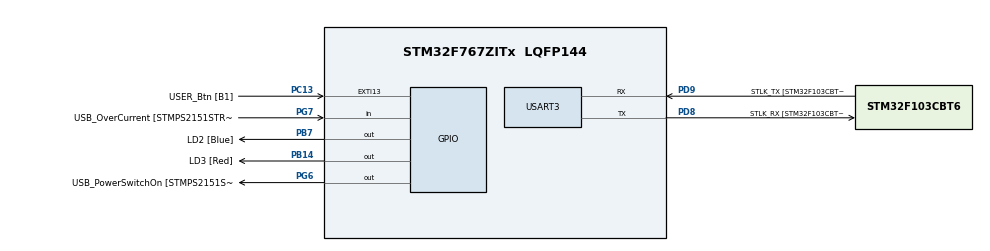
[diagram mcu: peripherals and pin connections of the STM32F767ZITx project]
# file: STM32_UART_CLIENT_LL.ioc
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Dma.Request0=USART3_RX
Dma.Request1=USART3_TX
Dma.USART3_RX.0.Direction=DMA_PERIPH_TO_MEMORY
Dma.USART3_RX.0.FIFOMode=DMA_FIFOMODE_DISABLE
Dma.USART3_RX.0.Instance=DMA1_Stream1
Dma.USART3_RX.0.MemDataAlignment=DMA_MDATAALIGN_BYTE
Dma.USART3_RX.0.MemInc=DMA_MINC_ENABLE
Dma.USART3_RX.0.Mode=DMA_CIRCULAR
Dma.USART3_RX.0.PeriphDataAlignment=DMA_PDATAALIGN_BYTE
Dma.USART3_RX.0.PeriphInc=DMA_PINC_DISABLE
Dma.USART3_RX.0.Priority=DMA_PRIORITY_LOW
Dma.USART3_TX.1.Direction=DMA_MEMORY_TO_PERIPH
Dma.USART3_TX.1.FIFOMode=DMA_FIFOMODE_DISABLE
Dma.USART3_TX.1.Instance=DMA1_Stream3
Dma.USART3_TX.1.MemDataAlignment=DMA_MDATAALIGN_BYTE
Dma.USART3_TX.1.MemInc=DMA_MINC_ENABLE
Dma.USART3_TX.1.Mode=DMA_NORMAL
Dma.USART3_TX.1.PeriphDataAlignment=DMA_PDATAALIGN_BYTE
Dma.USART3_TX.1.PeriphInc=DMA_PINC_DISABLE
Dma.USART3_TX.1.Priority=DMA_PRIORITY_LOW
FREERTOS.BinarySemaphores01=uartWaitTxCompletionSem,Dynamic,NULL;uartWaitRxCompletionSem,Dynamic,NULL
FREERTOS.HEAP_NUMBER=1
FREERTOS.Tasks01=UartTask,24,384,StartUartTask,Default,NULL,Dynamic,NULL,NULL
FREERTOS.configMINIMAL_STACK_SIZE=384
Mcu.Family=STM32F7
Mcu.Name=STM32F767ZITx
Mcu.Package=LQFP144
NVIC.DMA1_Stream1_IRQn=true\:5\:0\:false\:false\:true\:true\:false\:true
NVIC.DMA1_Stream3_IRQn=true\:5\:0\:false\:false\:true\:true\:false\:true
NVIC.PriorityGroup=NVIC_PRIORITYGROUP_4
NVIC.TIM3_IRQn=true\:0\:0\:false\:false\:true\:false\:false\:true
NVIC.TimeBase=TIM3_IRQn
NVIC.TimeBaseIP=TIM3
NVIC.USART3_IRQn=true\:5\:0\:false\:false\:true\:true\:true\:true
PA1.GPIO_Label=RMII_REF_CLK [LAN8742A-CZ-TR_REFCLK0]
PA1.Signal=ETH_REF_CLK
PA10.GPIO_Label=USB_ID
PA10.Signal=USB_OTG_FS_ID
PA11.GPIO_Label=USB_DM
PA11.Signal=USB_OTG_FS_DM
PA12.GPIO_Label=USB_DP
PA12.Signal=USB_OTG_FS_DP
PA13.GPIO_Label=TMS
PA13.Mode=Serial_Wire
PA13.Signal=SYS_JTMS-SWDIO
PA14.GPIO_Label=TCK
PA14.Mode=Serial_Wire
PA14.Signal=SYS_JTCK-SWCLK
PA2.GPIO_Label=RMII_MDIO [LAN8742A-CZ-TR_MDIO]
PA2.Signal=ETH_MDIO
PA7.GPIO_Label=RMII_CRS_DV [LAN8742A-CZ-TR_CRS_DV]
PA7.Signal=ETH_CRS_DV
PA8.GPIO_Label=USB_SOF [TP1]
PA8.Signal=USB_OTG_FS_SOF
PA9.GPIO_Label=USB_VBUS
PA9.Signal=USB_OTG_FS_VBUS
PB13.GPIO_Label=RMII_TXD1 [LAN8742A-CZ-TR_TXD1]
PB13.Signal=ETH_TXD1
PB14.GPIO_Label=LD3 [Red]
PB14.Signal=GPIO_Output
PB3.GPIO_Label=SWO
PB3.Signal=SYS_JTDO-SWO
PB7.GPIO_Label=LD2 [Blue]
PB7.Signal=GPIO_Output
PC1.GPIO_Label=RMII_MDC [LAN8742A-CZ-TR_MDC]
PC1.Signal=ETH_MDC
PC13.GPIO_Label=USER_Btn [B1]
PC13.Signal=GPXTI13
PC14/OSC32_IN.Mode=LSE-External-Oscillator
PC14/OSC32_IN.Signal=RCC_OSC32_IN
PC15/OSC32_OUT.Mode=LSE-External-Oscillator
PC15/OSC32_OUT.Signal=RCC_OSC32_OUT
PC4.GPIO_Label=RMII_RXD0 [LAN8742A-CZ-TR_RXD0]
PC4.Signal=ETH_RXD0
PC5.GPIO_Label=RMII_RXD1 [LAN8742A-CZ-TR_RXD1]
PC5.Signal=ETH_RXD1
PD8.GPIO_Label=STLK_RX [STM32F103CBT6_PA3]
PD8.Mode=Asynchronous
PD8.Signal=USART3_TX
PD9.GPIO_Label=STLK_TX [STM32F103CBT6_PA2]
PD9.Mode=Asynchronous
PD9.Signal=USART3_RX
PG11.GPIO_Label=RMII_TX_EN [LAN8742A-CZ-TR_TXEN]
PG11.Signal=ETH_TX_EN
PG13.GPIO_Label=RMII_TXD0 [LAN8742A-CZ-TR_TXD0]
PG13.Signal=ETH_TXD0
PG6.GPIO_Label=USB_PowerSwitchOn [STMPS2151STR_EN]
PG6.Signal=GPIO_Output
PG7.GPIO_Label=USB_OverCurrent [STMPS2151STR_FAULT]
PG7.Signal=GPIO_Input
PH0/OSC_IN.GPIO_Label=MCO [STM32F103CBT6_PA8]
PH0/OSC_IN.Mode=HSE-External-Clock-Source
PH0/OSC_IN.Signal=RCC_OSC_IN
PH1/OSC_OUT.Mode=HSE-External-Clock-Source
PH1/OSC_OUT.Signal=RCC_OSC_OUT
ProjectManager.HeapSize=0x200
ProjectManager.StackSize=0x400
ProjectManager.TargetToolchain=STM32CubeIDE
RCC.48MHZClocksFreq_Value=24000000
RCC.AHBFreq_Value=96000000
RCC.APB1CLKDivider=RCC_HCLK_DIV2
RCC.APB1Freq_Value=48000000
RCC.APB1TimFreq_Value=96000000
RCC.APB2Freq_Value=96000000
RCC.APB2TimFreq_Value=96000000
RCC.CortexFreq_Value=96000000
RCC.HCLKFreq_Value=96000000
RCC.HSE_VALUE=8000000
RCC.HSI_VALUE=16000000
RCC.PLLM=4
RCC.PLLMUL=RCC_PLL_MUL9
RCC.PLLN=96
RCC.PLLQ=4
RCC.PLLSourceVirtual=RCC_PLLSOURCE_HSE
RCC.PRESCALERUSB=RCC_USBCLKSOURCE_PLL_DIV1_5
RCC.SYSCLKFreq_VALUE=96000000
RCC.SYSCLKSource=RCC_SYSCLKSOURCE_PLLCLK
RCC.SYSCLKSourceVirtual=RCC_SYSCLKSOURCE_PLLCLK
RCC.USBFreq_Value=48000000
RCC.VCOOutputFreq_Value=192000000
USART3.VirtualMode-Asynchronous=VM_ASYNC
VP_FREERTOS_VS_CMSIS_V2.Mode=CMSIS_V2
VP_SYS_VS_tim3.Mode=TIM3
board=NUCLEO-F767ZI

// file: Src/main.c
/* USER CODE BEGIN Header */
/**
  ******************************************************************************
  * @file           : main.c
  * @brief          : Main program body
  ******************************************************************************
  * @attention
  *
  * <h2><center>&copy; Copyright (c) 2020 STMicroelectronics.
  * All rights reserved.</center></h2>
  *
  * This software component is licensed by ST under BSD 3-Clause license,
  * the "License"; You may not use this file except in compliance with the
  * License. You may obtain a copy of the License at:
  *                        opensource.org/licenses/BSD-3-Clause
  *
  ******************************************************************************
  */
/* USER CODE END Header */

#include "main.h"
#include "cmsis_os.h"

/* USER CODE BEGIN Includes */
#include <string.h>
#include "task.h"
#include "uart_wrapper.h"
/* USER CODE END Includes */

osThreadId_t UartTaskHandle;
osSemaphoreId_t uartWaitTxCompletionSemHandle;
osSemaphoreId_t uartWaitRxCompletionSemHandle;

void SystemClock_Config(void);
static void MX_GPIO_Init(void);
static void MX_DMA_Init(void);
static void MX_USART3_UART_Init(void);
void StartUartTask(void *argument);

/* USER CODE BEGIN 0 */
int prev_offset = 0;
uint8_t pDataRx[256] = {0};
uint8_t message[256] = {0};
uint8_t pDataRxCopy[150] = {0};

void uart_txcpltcallback(USART_TypeDef *uart)
{
	//transmitDone = 1;
	osSemaphoreRelease(uartWaitTxCompletionSemHandle);
}

void uart_rxcpltcallback(USART_TypeDef *uart)
{
	int offset;
	size_t size;

	offset = sizeof(pDataRx) - LL_DMA_GetDataLength(DMA1, LL_DMA_STREAM_1);
	if(offset != prev_offset)
	{
		if(offset > prev_offset)
		{
			memcpy(&message[0], &pDataRx[prev_offset], offset - prev_offset);
		}
		else
		{
			size = sizeof(pDataRx) - prev_offset;
			memcpy(&message[0], &pDataRx[prev_offset], size);

			if(offset > 0)
			{
				memcpy(&message[size], &pDataRx[0], offset);
			}
		}
	}
	prev_offset = offset;
    if (prev_offset == sizeof(pDataRx)) {
        prev_offset = 0;
    }

	osSemaphoreRelease(uartWaitRxCompletionSemHandle);
}

int strlen_7e(uint8_t *str)
{
	int i = 0;

	while(str[i++] != 0x7E);

	return i;
}

/*
 * UnStuffData decodes "length" bytes of data at
 * the location pointed to by "ptr", writing the
 * output to the location pointed to by "dst".
 *
 * Returns the length of the decoded data
 * (which is guaranteed to be <= length).
 */
size_t UnStuffData(const uint8_t *ptr, size_t length, uint8_t *dst)
{
	const uint8_t *start = dst, *end = ptr + length;
	uint8_t code = 0xFF, copy = 0;

	for (; ptr < end; copy--) {
		if (copy != 0) {
			*dst++ = *ptr++;
		} else {
			if (code != 0xFF)
				*dst++ = 0x7E;
			copy = code = *ptr++;
			if (code == 0x7E)
				break; /* Source length too long */
		}
	}
	return dst - start;
}

void vApplicationStackOverflowHook(TaskHandle_t xTask, signed char *pcTaskName)
{
 __asm("BKPT");
}
/* USER CODE END 0 */

int main(void)
{

  /* MCU Configuration--------------------------------------------------------*/

  /* Reset of all peripherals, Initializes the Flash interface and the Systick. */
  HAL_Init();

  /* Configure the system clock */
  SystemClock_Config();

  /* Initialize all configured peripherals */
  MX_GPIO_Init();
  MX_DMA_Init();
  MX_USART3_UART_Init();
  /* USER CODE BEGIN 2 */

  usart_start_rx_dma_transfer(pDataRx, sizeof(pDataRx));
  /* USER CODE END 2 */

  osKernelInitialize();

  /* Create the semaphores(s) */
  /* definition and creation of uartWaitTxCompletionSem */
  const osSemaphoreAttr_t uartWaitTxCompletionSem_attributes = {
    .name = "uartWaitTxCompletionSem"
  };
  uartWaitTxCompletionSemHandle = osSemaphoreNew(1, 0, &uartWaitTxCompletionSem_attributes);

  /* definition and creation of uartWaitRxCompletionSem */
  const osSemaphoreAttr_t uartWaitRxCompletionSem_attributes = {
    .name = "uartWaitRxCompletionSem"
  };
  uartWaitRxCompletionSemHandle = osSemaphoreNew(1, 0, &uartWaitRxCompletionSem_attributes);

  /* Create the thread(s) */
  /* definition and creation of UartTask */
  const osThreadAttr_t UartTask_attributes = {
    .name = "UartTask",
    .priority = (osPriority_t) osPriorityNormal,
    .stack_size = 384
  };
  UartTaskHandle = osThreadNew(StartUartTask, NULL, &UartTask_attributes);

  /* Start scheduler */
  osKernelStart();

  /* We should never get here as control is now taken by the scheduler */

  /* Infinite loop */
  while (1)
  {

  }
}

void SystemClock_Config(void)
{
  LL_FLASH_SetLatency(LL_FLASH_LATENCY_3);

  if(LL_FLASH_GetLatency() != LL_FLASH_LATENCY_3)
  {
  Error_Handler();
  }
  LL_PWR_SetRegulVoltageScaling(LL_PWR_REGU_VOLTAGE_SCALE3);
  LL_PWR_EnableOverDriveMode();
  LL_RCC_HSE_EnableBypass();
  LL_RCC_HSE_Enable();

   /* Wait till HSE is ready */
  while(LL_RCC_HSE_IsReady() != 1)
  {

  }
  LL_RCC_PLL_ConfigDomain_SYS(LL_RCC_PLLSOURCE_HSE, LL_RCC_PLLM_DIV_4, 96, LL_RCC_PLLP_DIV_2);
  LL_RCC_PLL_Enable();

   /* Wait till PLL is ready */
  while(LL_RCC_PLL_IsReady() != 1)
  {

  }
  LL_RCC_SetAHBPrescaler(LL_RCC_SYSCLK_DIV_1);
  LL_RCC_SetAPB1Prescaler(LL_RCC_APB1_DIV_2);
  LL_RCC_SetAPB2Prescaler(LL_RCC_APB2_DIV_1);
  LL_RCC_SetSysClkSource(LL_RCC_SYS_CLKSOURCE_PLL);

   /* Wait till System clock is ready */
  while(LL_RCC_GetSysClkSource() != LL_RCC_SYS_CLKSOURCE_STATUS_PLL)
  {

  }
  LL_SetSystemCoreClock(96000000);
  LL_RCC_SetUSARTClockSource(LL_RCC_USART3_CLKSOURCE_PCLK1);
}

static void MX_USART3_UART_Init(void)
{

  /* USER CODE BEGIN USART3_Init 0 */
  uint8_t CRLFchar = 0x7E;//'\r';
  /* USER CODE END USART3_Init 0 */

  LL_USART_InitTypeDef USART_InitStruct = {0};

  LL_GPIO_InitTypeDef GPIO_InitStruct = {0};

  /* Peripheral clock enable */
  LL_APB1_GRP1_EnableClock(LL_APB1_GRP1_PERIPH_USART3);

  LL_AHB1_GRP1_EnableClock(LL_AHB1_GRP1_PERIPH_GPIOD);
  /**USART3 GPIO Configuration
  PD8   ------> USART3_TX
  PD9   ------> USART3_RX
  */
  GPIO_InitStruct.Pin = STLK_RX_Pin;
  GPIO_InitStruct.Mode = LL_GPIO_MODE_ALTERNATE;
  GPIO_InitStruct.Speed = LL_GPIO_SPEED_FREQ_VERY_HIGH;
  GPIO_InitStruct.OutputType = LL_GPIO_OUTPUT_PUSHPULL;
  GPIO_InitStruct.Pull = LL_GPIO_PULL_NO;
  GPIO_InitStruct.Alternate = LL_GPIO_AF_7;
  LL_GPIO_Init(STLK_RX_GPIO_Port, &GPIO_InitStruct);

  GPIO_InitStruct.Pin = STLK_TX_Pin;
  GPIO_InitStruct.Mode = LL_GPIO_MODE_ALTERNATE;
  GPIO_InitStruct.Speed = LL_GPIO_SPEED_FREQ_VERY_HIGH;
  GPIO_InitStruct.OutputType = LL_GPIO_OUTPUT_PUSHPULL;
  GPIO_InitStruct.Pull = LL_GPIO_PULL_NO;
  GPIO_InitStruct.Alternate = LL_GPIO_AF_7;
  LL_GPIO_Init(STLK_TX_GPIO_Port, &GPIO_InitStruct);

  /* USART3 DMA Init */

  /* USART3_RX Init */
  LL_DMA_SetChannelSelection(DMA1, LL_DMA_STREAM_1, LL_DMA_CHANNEL_4);

  LL_DMA_SetDataTransferDirection(DMA1, LL_DMA_STREAM_1, LL_DMA_DIRECTION_PERIPH_TO_MEMORY);

  LL_DMA_SetStreamPriorityLevel(DMA1, LL_DMA_STREAM_1, LL_DMA_PRIORITY_LOW);

  LL_DMA_SetMode(DMA1, LL_DMA_STREAM_1, LL_DMA_MODE_CIRCULAR);

  LL_DMA_SetPeriphIncMode(DMA1, LL_DMA_STREAM_1, LL_DMA_PERIPH_NOINCREMENT);

  LL_DMA_SetMemoryIncMode(DMA1, LL_DMA_STREAM_1, LL_DMA_MEMORY_INCREMENT);

  LL_DMA_SetPeriphSize(DMA1, LL_DMA_STREAM_1, LL_DMA_PDATAALIGN_BYTE);

  LL_DMA_SetMemorySize(DMA1, LL_DMA_STREAM_1, LL_DMA_MDATAALIGN_BYTE);

  LL_DMA_DisableFifoMode(DMA1, LL_DMA_STREAM_1);

  /* USART3_TX Init */
  LL_DMA_SetChannelSelection(DMA1, LL_DMA_STREAM_3, LL_DMA_CHANNEL_4);

  LL_DMA_SetDataTransferDirection(DMA1, LL_DMA_STREAM_3, LL_DMA_DIRECTION_MEMORY_TO_PERIPH);

  LL_DMA_SetStreamPriorityLevel(DMA1, LL_DMA_STREAM_3, LL_DMA_PRIORITY_LOW);

  LL_DMA_SetMode(DMA1, LL_DMA_STREAM_3, LL_DMA_MODE_NORMAL);

  LL_DMA_SetPeriphIncMode(DMA1, LL_DMA_STREAM_3, LL_DMA_PERIPH_NOINCREMENT);

  LL_DMA_SetMemoryIncMode(DMA1, LL_DMA_STREAM_3, LL_DMA_MEMORY_INCREMENT);

  LL_DMA_SetPeriphSize(DMA1, LL_DMA_STREAM_3, LL_DMA_PDATAALIGN_BYTE);

  LL_DMA_SetMemorySize(DMA1, LL_DMA_STREAM_3, LL_DMA_MDATAALIGN_BYTE);

  LL_DMA_DisableFifoMode(DMA1, LL_DMA_STREAM_3);

  /* USART3 interrupt Init */
  NVIC_SetPriority(USART3_IRQn, NVIC_EncodePriority(NVIC_GetPriorityGrouping(),5, 0));
  NVIC_EnableIRQ(USART3_IRQn);

  /* USER CODE BEGIN USART3_Init 1 */
  //MODIFY_REG(huart3.Instance->CR2, USART_CR2_ADD, ((uint32_t)CRLFchar << UART_CR2_ADDRESS_LSB_POS));
  //LL_USART_ConfigNodeAddress(USART3, LL_USART_ADDRESS_DETECT_7B, CRLFchar);
  MODIFY_REG(USART3->CR2, USART_CR2_ADD, ((uint32_t)CRLFchar << USART_CR2_ADD_Pos));
  /* USER CODE END USART3_Init 1 */
  USART_InitStruct.BaudRate = 115200;
  USART_InitStruct.DataWidth = LL_USART_DATAWIDTH_8B;
  USART_InitStruct.StopBits = LL_USART_STOPBITS_1;
  USART_InitStruct.Parity = LL_USART_PARITY_NONE;
  USART_InitStruct.TransferDirection = LL_USART_DIRECTION_TX_RX;
  USART_InitStruct.HardwareFlowControl = LL_USART_HWCONTROL_NONE;
  USART_InitStruct.OverSampling = LL_USART_OVERSAMPLING_16;
  LL_USART_Init(USART3, &USART_InitStruct);
  LL_USART_ConfigAsyncMode(USART3);
  LL_USART_Enable(USART3);

}

static void MX_DMA_Init(void)
{

  /* DMA controller clock enable */
  __HAL_RCC_DMA1_CLK_ENABLE();

  /* DMA interrupt init */
  /* DMA1_Stream1_IRQn interrupt configuration */
  NVIC_SetPriority(DMA1_Stream1_IRQn, NVIC_EncodePriority(NVIC_GetPriorityGrouping(),5, 0));
  NVIC_EnableIRQ(DMA1_Stream1_IRQn);
  /* DMA1_Stream3_IRQn interrupt configuration */
  NVIC_SetPriority(DMA1_Stream3_IRQn, NVIC_EncodePriority(NVIC_GetPriorityGrouping(),5, 0));
  NVIC_EnableIRQ(DMA1_Stream3_IRQn);

}

static void MX_GPIO_Init(void)
{
  LL_EXTI_InitTypeDef EXTI_InitStruct = {0};
  LL_GPIO_InitTypeDef GPIO_InitStruct = {0};

  /* GPIO Ports Clock Enable */
  LL_AHB1_GRP1_EnableClock(LL_AHB1_GRP1_PERIPH_GPIOC);
  LL_AHB1_GRP1_EnableClock(LL_AHB1_GRP1_PERIPH_GPIOH);
  LL_AHB1_GRP1_EnableClock(LL_AHB1_GRP1_PERIPH_GPIOA);
  LL_AHB1_GRP1_EnableClock(LL_AHB1_GRP1_PERIPH_GPIOB);
  LL_AHB1_GRP1_EnableClock(LL_AHB1_GRP1_PERIPH_GPIOD);
  LL_AHB1_GRP1_EnableClock(LL_AHB1_GRP1_PERIPH_GPIOG);

  /**/
  LL_GPIO_ResetOutputPin(LD3_GPIO_Port, LD3_Pin);

  /**/
  LL_GPIO_ResetOutputPin(USB_PowerSwitchOn_GPIO_Port, USB_PowerSwitchOn_Pin);

  /**/
  LL_GPIO_ResetOutputPin(LD2_GPIO_Port, LD2_Pin);

  /**/
  LL_SYSCFG_SetEXTISource(LL_SYSCFG_EXTI_PORTC, LL_SYSCFG_EXTI_LINE13);

  /**/
  EXTI_InitStruct.Line_0_31 = LL_EXTI_LINE_13;
  EXTI_InitStruct.LineCommand = ENABLE;
  EXTI_InitStruct.Mode = LL_EXTI_MODE_IT;
  EXTI_InitStruct.Trigger = LL_EXTI_TRIGGER_RISING;
  LL_EXTI_Init(&EXTI_InitStruct);

  /**/
  LL_GPIO_SetPinPull(USER_Btn_GPIO_Port, USER_Btn_Pin, LL_GPIO_PULL_NO);

  /**/
  LL_GPIO_SetPinMode(USER_Btn_GPIO_Port, USER_Btn_Pin, LL_GPIO_MODE_INPUT);

  /**/
  GPIO_InitStruct.Pin = RMII_MDC_Pin;
  GPIO_InitStruct.Mode = LL_GPIO_MODE_ALTERNATE;
  GPIO_InitStruct.Speed = LL_GPIO_SPEED_FREQ_VERY_HIGH;
  GPIO_InitStruct.OutputType = LL_GPIO_OUTPUT_PUSHPULL;
  GPIO_InitStruct.Pull = LL_GPIO_PULL_NO;
  GPIO_InitStruct.Alternate = LL_GPIO_AF_11;
  LL_GPIO_Init(RMII_MDC_GPIO_Port, &GPIO_InitStruct);

  /**/
  GPIO_InitStruct.Pin = RMII_REF_CLK_Pin;
  GPIO_InitStruct.Mode = LL_GPIO_MODE_ALTERNATE;
  GPIO_InitStruct.Speed = LL_GPIO_SPEED_FREQ_VERY_HIGH;
  GPIO_InitStruct.OutputType = LL_GPIO_OUTPUT_PUSHPULL;
  GPIO_InitStruct.Pull = LL_GPIO_PULL_NO;
  GPIO_InitStruct.Alternate = LL_GPIO_AF_11;
  LL_GPIO_Init(RMII_REF_CLK_GPIO_Port, &GPIO_InitStruct);

  /**/
  GPIO_InitStruct.Pin = RMII_MDIO_Pin;
  GPIO_InitStruct.Mode = LL_GPIO_MODE_ALTERNATE;
  GPIO_InitStruct.Speed = LL_GPIO_SPEED_FREQ_VERY_HIGH;
  GPIO_InitStruct.OutputType = LL_GPIO_OUTPUT_PUSHPULL;
  GPIO_InitStruct.Pull = LL_GPIO_PULL_NO;
  GPIO_InitStruct.Alternate = LL_GPIO_AF_11;
  LL_GPIO_Init(RMII_MDIO_GPIO_Port, &GPIO_InitStruct);

  /**/
  GPIO_InitStruct.Pin = RMII_CRS_DV_Pin;
  GPIO_InitStruct.Mode = LL_GPIO_MODE_ALTERNATE;
  GPIO_InitStruct.Speed = LL_GPIO_SPEED_FREQ_VERY_HIGH;
  GPIO_InitStruct.OutputType = LL_GPIO_OUTPUT_PUSHPULL;
  GPIO_InitStruct.Pull = LL_GPIO_PULL_NO;
  GPIO_InitStruct.Alternate = LL_GPIO_AF_11;
  LL_GPIO_Init(RMII_CRS_DV_GPIO_Port, &GPIO_InitStruct);

  /**/
  GPIO_InitStruct.Pin = RMII_RXD0_Pin;
  GPIO_InitStruct.Mode = LL_GPIO_MODE_ALTERNATE;
  GPIO_InitStruct.Speed = LL_GPIO_SPEED_FREQ_VERY_HIGH;
  GPIO_InitStruct.OutputType = LL_GPIO_OUTPUT_PUSHPULL;
  GPIO_InitStruct.Pull = LL_GPIO_PULL_NO;
  GPIO_InitStruct.Alternate = LL_GPIO_AF_11;
  LL_GPIO_Init(RMII_RXD0_GPIO_Port, &GPIO_InitStruct);

  /**/
  GPIO_InitStruct.Pin = RMII_RXD1_Pin;
  GPIO_InitStruct.Mode = LL_GPIO_MODE_ALTERNATE;
  GPIO_InitStruct.Speed = LL_GPIO_SPEED_FREQ_VERY_HIGH;
  GPIO_InitStruct.OutputType = LL_GPIO_OUTPUT_PUSHPULL;
  GPIO_InitStruct.Pull = LL_GPIO_PULL_NO;
  GPIO_InitStruct.Alternate = LL_GPIO_AF_11;
  LL_GPIO_Init(RMII_RXD1_GPIO_Port, &GPIO_InitStruct);

  /**/
  GPIO_InitStruct.Pin = RMII_TXD1_Pin;
  GPIO_InitStruct.Mode = LL_GPIO_MODE_ALTERNATE;
  GPIO_InitStruct.Speed = LL_GPIO_SPEED_FREQ_VERY_HIGH;
  GPIO_InitStruct.OutputType = LL_GPIO_OUTPUT_PUSHPULL;
  GPIO_InitStruct.Pull = LL_GPIO_PULL_NO;
  GPIO_InitStruct.Alternate = LL_GPIO_AF_11;
  LL_GPIO_Init(RMII_TXD1_GPIO_Port, &GPIO_InitStruct);

  /**/
  GPIO_InitStruct.Pin = LD3_Pin;
  GPIO_InitStruct.Mode = LL_GPIO_MODE_OUTPUT;
  GPIO_InitStruct.Speed = LL_GPIO_SPEED_FREQ_LOW;
  GPIO_InitStruct.OutputType = LL_GPIO_OUTPUT_PUSHPULL;
  GPIO_InitStruct.Pull = LL_GPIO_PULL_NO;
  LL_GPIO_Init(LD3_GPIO_Port, &GPIO_InitStruct);

  /**/
  GPIO_InitStruct.Pin = USB_PowerSwitchOn_Pin;
  GPIO_InitStruct.Mode = LL_GPIO_MODE_OUTPUT;
  GPIO_InitStruct.Speed = LL_GPIO_SPEED_FREQ_LOW;
  GPIO_InitStruct.OutputType = LL_GPIO_OUTPUT_PUSHPULL;
  GPIO_InitStruct.Pull = LL_GPIO_PULL_NO;
  LL_GPIO_Init(USB_PowerSwitchOn_GPIO_Port, &GPIO_InitStruct);

  /**/
  GPIO_InitStruct.Pin = USB_OverCurrent_Pin;
  GPIO_InitStruct.Mode = LL_GPIO_MODE_INPUT;
  GPIO_InitStruct.Pull = LL_GPIO_PULL_NO;
  LL_GPIO_Init(USB_OverCurrent_GPIO_Port, &GPIO_InitStruct);

  /**/
  GPIO_InitStruct.Pin = USB_SOF_Pin;
  GPIO_InitStruct.Mode = LL_GPIO_MODE_ALTERNATE;
  GPIO_InitStruct.Speed = LL_GPIO_SPEED_FREQ_VERY_HIGH;
  GPIO_InitStruct.OutputType = LL_GPIO_OUTPUT_PUSHPULL;
  GPIO_InitStruct.Pull = LL_GPIO_PULL_NO;
  GPIO_InitStruct.Alternate = LL_GPIO_AF_10;
  LL_GPIO_Init(USB_SOF_GPIO_Port, &GPIO_InitStruct);

  /**/
  GPIO_InitStruct.Pin = USB_VBUS_Pin;
  GPIO_InitStruct.Mode = LL_GPIO_MODE_INPUT;
  GPIO_InitStruct.Pull = LL_GPIO_PULL_NO;
  LL_GPIO_Init(USB_VBUS_GPIO_Port, &GPIO_InitStruct);

  /**/
  GPIO_InitStruct.Pin = USB_ID_Pin;
  GPIO_InitStruct.Mode = LL_GPIO_MODE_ALTERNATE;
  GPIO_InitStruct.Speed = LL_GPIO_SPEED_FREQ_VERY_HIGH;
  GPIO_InitStruct.OutputType = LL_GPIO_OUTPUT_PUSHPULL;
  GPIO_InitStruct.Pull = LL_GPIO_PULL_NO;
  GPIO_InitStruct.Alternate = LL_GPIO_AF_10;
  LL_GPIO_Init(USB_ID_GPIO_Port, &GPIO_InitStruct);

  /**/
  GPIO_InitStruct.Pin = USB_DM_Pin;
  GPIO_InitStruct.Mode = LL_GPIO_MODE_ALTERNATE;
  GPIO_InitStruct.Speed = LL_GPIO_SPEED_FREQ_VERY_HIGH;
  GPIO_InitStruct.OutputType = LL_GPIO_OUTPUT_PUSHPULL;
  GPIO_InitStruct.Pull = LL_GPIO_PULL_NO;
  GPIO_InitStruct.Alternate = LL_GPIO_AF_10;
  LL_GPIO_Init(USB_DM_GPIO_Port, &GPIO_InitStruct);

  /**/
  GPIO_InitStruct.Pin = USB_DP_Pin;
  GPIO_InitStruct.Mode = LL_GPIO_MODE_ALTERNATE;
  GPIO_InitStruct.Speed = LL_GPIO_SPEED_FREQ_VERY_HIGH;
  GPIO_InitStruct.OutputType = LL_GPIO_OUTPUT_PUSHPULL;
  GPIO_InitStruct.Pull = LL_GPIO_PULL_NO;
  GPIO_InitStruct.Alternate = LL_GPIO_AF_10;
  LL_GPIO_Init(USB_DP_GPIO_Port, &GPIO_InitStruct);

  /**/
  GPIO_InitStruct.Pin = RMII_TX_EN_Pin;
  GPIO_InitStruct.Mode = LL_GPIO_MODE_ALTERNATE;
  GPIO_InitStruct.Speed = LL_GPIO_SPEED_FREQ_VERY_HIGH;
  GPIO_InitStruct.OutputType = LL_GPIO_OUTPUT_PUSHPULL;
  GPIO_InitStruct.Pull = LL_GPIO_PULL_NO;
  GPIO_InitStruct.Alternate = LL_GPIO_AF_11;
  LL_GPIO_Init(RMII_TX_EN_GPIO_Port, &GPIO_InitStruct);

  /**/
  GPIO_InitStruct.Pin = RMII_TXD0_Pin;
  GPIO_InitStruct.Mode = LL_GPIO_MODE_ALTERNATE;
  GPIO_InitStruct.Speed = LL_GPIO_SPEED_FREQ_VERY_HIGH;
  GPIO_InitStruct.OutputType = LL_GPIO_OUTPUT_PUSHPULL;
  GPIO_InitStruct.Pull = LL_GPIO_PULL_NO;
  GPIO_InitStruct.Alternate = LL_GPIO_AF_11;
  LL_GPIO_Init(RMII_TXD0_GPIO_Port, &GPIO_InitStruct);

  /**/
  GPIO_InitStruct.Pin = LD2_Pin;
  GPIO_InitStruct.Mode = LL_GPIO_MODE_OUTPUT;
  GPIO_InitStruct.Speed = LL_GPIO_SPEED_FREQ_LOW;
  GPIO_InitStruct.OutputType = LL_GPIO_OUTPUT_PUSHPULL;
  GPIO_InitStruct.Pull = LL_GPIO_PULL_NO;
  LL_GPIO_Init(LD2_GPIO_Port, &GPIO_InitStruct);

}

void StartUartTask(void *argument)
{

  /* USER CODE BEGIN 5 */
	uint8_t pData[] = "Bring me data\n\r";
	uint8_t *dPtr = pData;
	volatile int len = sizeof(pData), count=0;
	pData[sizeof(pData) - 2] = 0x7E;

  /* Infinite loop */
  for(;;)
  {
	  usart_start_tx_dma_transfer(dPtr, len);
	  osSemaphoreAcquire(uartWaitTxCompletionSemHandle, 10000);

	  memset(message, 0, sizeof(message));

	  osSemaphoreAcquire(uartWaitRxCompletionSemHandle, 10000);
	  if( message[0] != 101)
		  __asm("BKPT");

	  len = strlen_7e(message);
	  if(len<102)
		  __asm("BKPT");

	  UnStuffData(message, len, pDataRxCopy);
	  //len = UnStuffData(pDataRx, len, pDataRxCopy);
	  //dPtr = pDataRxCopy;
	  dPtr = message;
  }
  /* USER CODE END 5 */
}

void HAL_TIM_PeriodElapsedCallback(TIM_HandleTypeDef *htim)
{
  if (htim->Instance == TIM3) {
    HAL_IncTick();
  }
}

void Error_Handler(void)
{
}

/************************ (C) COPYRIGHT STMicroelectronics *****END OF FILE****/
